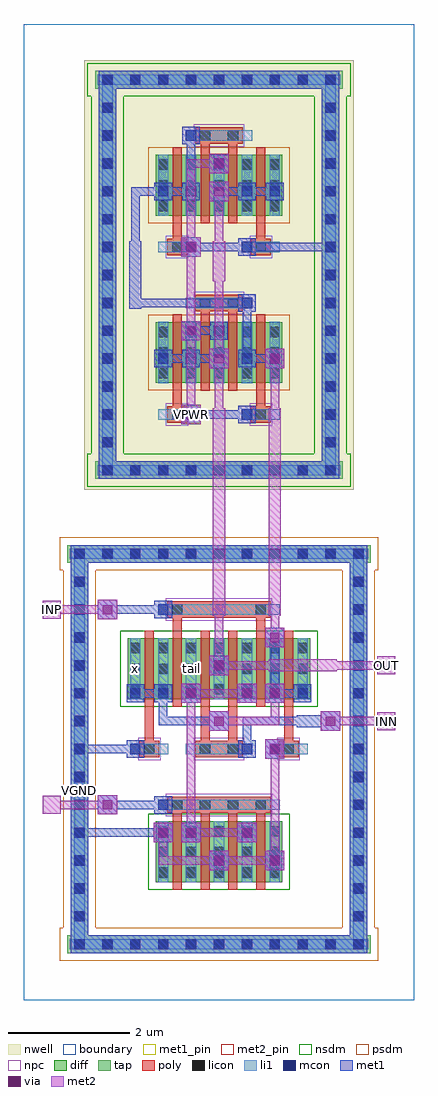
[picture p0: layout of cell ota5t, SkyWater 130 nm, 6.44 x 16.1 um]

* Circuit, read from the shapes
.subckt ota5t INN INP OUT VBN VGND VPWR tail x
XM1 x VGND x VGND sky130_fd_pr__nfet_01v8 w=1 l=0.15 m=2
XM2 tail VBN VGND VGND sky130_fd_pr__nfet_01v8 w=1 l=0.15 m=4
XM3 tail INP x VGND sky130_fd_pr__nfet_01v8 w=1 l=0.15 m=2
XM4 OUT INN tail VGND sky130_fd_pr__nfet_01v8 w=1 l=0.15 m=2
XM5 OUT VPWR OUT VPWR sky130_fd_pr__pfet_01v8 w=1 l=0.15 m=2
XM6 x VPWR x VPWR sky130_fd_pr__pfet_01v8 w=1 l=0.15 m=2
XM7 VPWR x OUT VPWR sky130_fd_pr__pfet_01v8 w=1 l=0.15 m=2
XM8 VPWR x x VPWR sky130_fd_pr__pfet_01v8 w=1 l=0.15 m=2
.ends

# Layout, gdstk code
import gdstk
lib = gdstk.Library(unit=1e-6, precision=1e-09)
def R(c, l, rs):  # rectangles x0, y0, x1, y1
    for r in rs: c.add(gdstk.rectangle(r[:2], r[2:], *l))
def A(c, l, x, y, w, h, nx, ny, dx, dy):  # array of equal rectangles
    R(c, l, [(x+i*dx, y+j*dy, x+i*dx+w, y+j*dy+h) for i in range(nx) for j in range(ny)])
nwell = (64, 20)
diff = (65, 20)
tap = (65, 44)
poly = (66, 20)
licon = (66, 44)
li1 = (67, 20)
mcon = (67, 44)
met1_pin = (68, 16)
met1 = (68, 20)
via = (68, 44)
met2_pin = (69, 16)
met2 = (69, 20)
nsdm = (93, 44)
psdm = (94, 20)
npc = (95, 20)
boundary = (235, 4)

ota5t = lib.new_cell('ota5t')
R(ota5t, nwell, [(0.995,8.415,5.445,15.505)])
R(ota5t, diff, [(2.175,1.945,4.265,2.945), (1.715,4.965,4.725,5.965), (2.175,10.18,4.265,11.18), (2.175,12.94,4.265,13.94)])
R(ota5t, tap, [(0.715,0.775,5.725,1.065), (0.775,0.775,1.065,7.505), (5.375,0.775,5.665,7.505), (0.715,7.215,5.725,7.505), (1.175,8.595,5.265,8.885), (1.235,8.595,1.525,15.325), (4.915,8.595,5.205,15.325), (1.175,15.035,5.265,15.325)])
A(ota5t, poly, 2.455, 1.815, 0.15, 1.405, 4, 1, 0.46, 0)
R(ota5t, poly, [(2.365,3.085,4.075,3.355), (1.905,4.005,2.235,4.275), (2.825,4.005,3.615,4.275), (4.205,4.005,4.535,4.275), (1.995,4.14,2.145,6.095), (2.915,4.14,3.065,6.095), (3.375,4.14,3.525,6.095), (4.295,4.14,4.445,6.095), (2.455,4.835,2.605,6.44), (3.835,4.835,3.985,6.44), (2.365,6.305,4.075,6.575), (2.365,9.525,2.695,9.795), (3.745,9.525,4.075,9.795), (2.455,9.66,2.605,11.31), (3.835,9.66,3.985,11.31), (2.915,10.05,3.065,11.5), (3.375,10.05,3.525,11.5), (2.825,11.365,3.615,11.635), (2.365,12.285,2.695,12.555), (3.745,12.285,4.075,12.555), (2.455,12.42,2.605,14.07), (3.835,12.42,3.985,14.07), (2.915,12.81,3.065,14.26), (3.375,12.81,3.525,14.26), (2.825,14.125,3.615,14.395)])
A(ota5t, licon, 0.835, 0.835, 0.17, 0.17, 11, 2, 0.46, 6.44)
A(ota5t, licon, 0.835, 1.295, 0.17, 0.17, 1, 13, 0, 0.46)
A(ota5t, licon, 5.435, 1.295, 0.17, 0.17, 1, 13, 0, 0.46)
A(ota5t, licon, 2.215, 2.02, 0.17, 0.17, 5, 3, 0.46, 0.34)
A(ota5t, licon, 2.445, 3.135, 0.17, 0.17, 4, 1, 0.46, 0)
A(ota5t, licon, 1.755, 5.04, 0.17, 0.17, 7, 3, 0.46, 0.34)
A(ota5t, licon, 1.295, 8.655, 0.17, 0.17, 9, 2, 0.46, 6.44)
A(ota5t, licon, 1.295, 9.115, 0.17, 0.17, 1, 13, 0, 0.46)
A(ota5t, licon, 4.975, 9.115, 0.17, 0.17, 1, 13, 0, 0.46)
A(ota5t, licon, 2.215, 10.255, 0.17, 0.17, 5, 3, 0.46, 0.34)
A(ota5t, licon, 2.215, 13.015, 0.17, 0.17, 5, 3, 0.46, 0.34)
R(ota5t, licon, [(1.985,4.055,2.155,4.225), (2.905,4.055,3.075,4.225), (3.365,4.055,3.535,4.225), (4.285,4.055,4.455,4.225), (2.445,6.355,2.615,6.525), (3.825,6.355,3.995,6.525), (2.445,9.575,2.615,9.745), (3.825,9.575,3.995,9.745), (2.905,11.415,3.075,11.585), (3.365,11.415,3.535,11.585), (2.445,12.335,2.615,12.505), (3.825,12.335,3.995,12.505), (2.905,14.175,3.075,14.345), (3.365,14.175,3.535,14.345)])
A(ota5t, li1, 2.215, 1.94, 0.17, 1.01, 5, 2, 0.46, 8.235)
A(ota5t, li1, 1.755, 4.96, 0.17, 1.01, 7, 1, 0.46, 0)
A(ota5t, li1, 2.215, 12.935, 0.17, 1.01, 5, 1, 0.46, 0)
R(ota5t, li1, [(0.755,0.835,5.685,1.005), (0.835,0.835,1.005,7.445), (5.435,0.835,5.605,7.445), (2.215,3.135,4.225,3.305), (1.755,4.055,2.385,4.225), (2.675,4.055,3.765,4.225), (4.055,4.055,4.685,4.225), (2.215,6.355,4.225,6.525), (0.755,7.275,5.685,7.445), (1.215,8.655,5.225,8.825), (1.295,8.655,1.465,15.265), (4.975,8.655,5.145,15.265), (2.215,9.575,2.845,9.745), (3.595,9.575,4.225,9.745), (2.675,11.415,3.765,11.585), (2.215,12.335,2.845,12.505), (3.595,12.335,4.225,12.505), (2.675,14.175,3.765,14.345), (1.215,15.095,5.225,15.265)])
A(ota5t, mcon, 0.835, 0.835, 0.17, 0.17, 11, 2, 0.46, 6.44)
A(ota5t, mcon, 0.835, 1.295, 0.17, 0.17, 1, 9, 0, 0.46)
A(ota5t, mcon, 5.435, 1.295, 0.17, 0.17, 1, 9, 0, 0.46)
A(ota5t, mcon, 1.755, 4.975, 0.17, 0.17, 3, 1, 0.46, 0)
A(ota5t, mcon, 3.595, 4.975, 0.17, 0.17, 3, 1, 0.46, 0)
A(ota5t, mcon, 0.835, 5.435, 0.17, 0.17, 3, 1, 2.3, 0)
A(ota5t, mcon, 0.835, 5.895, 0.17, 0.17, 1, 3, 0, 0.46)
A(ota5t, mcon, 5.435, 5.895, 0.17, 0.17, 1, 3, 0, 0.46)
A(ota5t, mcon, 1.295, 8.655, 0.17, 0.17, 9, 2, 0.46, 6.44)
A(ota5t, mcon, 1.295, 9.115, 0.17, 0.17, 1, 4, 0, 0.46)
A(ota5t, mcon, 4.975, 9.115, 0.17, 0.17, 1, 4, 0, 0.46)
A(ota5t, mcon, 3.595, 9.575, 0.17, 0.17, 1, 5, 0, 0.92)
A(ota5t, mcon, 1.295, 10.955, 0.17, 0.17, 3, 2, 1.84, 2.76)
A(ota5t, mcon, 1.295, 11.415, 0.17, 0.17, 1, 5, 0, 0.46)
A(ota5t, mcon, 4.975, 11.415, 0.17, 0.17, 1, 5, 0, 0.46)
A(ota5t, mcon, 2.675, 12.335, 0.17, 0.17, 1, 3, 0, 0.92)
R(ota5t, mcon, [(3.135,2.215,3.305,2.385), (4.055,2.215,4.225,2.385), (2.215,2.675,2.385,2.845), (2.675,2.675,2.845,2.845), (3.595,2.675,3.765,2.845), (2.215,3.135,2.385,3.305), (1.755,4.055,1.925,4.225), (3.595,4.055,3.765,4.225), (4.055,4.055,4.225,4.225), (2.215,6.355,2.385,6.525), (2.675,9.575,2.845,9.745), (2.215,10.495,2.385,10.665), (2.675,10.495,2.845,10.665), (4.055,10.495,4.225,10.665), (2.215,13.255,2.385,13.425), (4.055,13.255,4.225,13.425), (1.295,14.175,1.465,14.345), (4.975,14.175,5.145,14.345), (1.295,14.635,1.465,14.805), (4.975,14.635,5.145,14.805)])
R(ota5t, met1_pin, [(0.85,2.69,0.99,4.21), (2.615,9.515,2.905,9.805)])
A(ota5t, met1, 3.98, 3.98, 0.32, 0.32, 1, 3, 0, 0.92)
A(ota5t, met1, 1.695, 4.915, 0.29, 0.29, 3, 1, 0.46, 0)
A(ota5t, met1, 3.535, 4.915, 0.29, 0.29, 3, 1, 0.46, 0)
A(ota5t, met1, 2.6, 9.5, 0.32, 0.32, 1, 3, 0, 1.38)
A(ota5t, met1, 3.535, 9.515, 0.29, 0.29, 1, 5, 0, 0.92)
A(ota5t, met1, 2.615, 12.275, 0.29, 0.29, 1, 3, 0, 0.92)
R(ota5t, met1, [(0.775,0.775,5.665,1.065), (0.775,0.775,1.065,7.505), (5.375,0.775,5.665,7.505), (3.06,2.14,3.38,2.46), (3.98,2.14,4.3,2.46), (3.075,2.155,3.365,2.445), (3.995,2.155,4.285,2.445), (2.14,2.6,2.46,2.92), (2.6,2.6,2.92,2.92), (3.52,2.6,3.84,2.92), (2.155,2.615,2.445,2.905), (2.615,2.615,2.905,2.905), (3.535,2.615,3.825,2.905), (0.85,2.69,2.37,2.83), (0.85,2.69,0.99,4.21), (1.22,3.06,1.54,3.38), (2.155,3.075,2.445,3.365), (1.31,3.15,2.37,3.29), (1.695,3.995,1.985,4.285), (3.535,3.995,3.825,4.285), (3.995,3.995,4.285,4.285), (0.85,4.07,1.91,4.21), (0.85,4.07,0.99,4.21), (0.85,4.07,0.99,7.43), (3.61,4.07,3.75,4.67), (3.06,4.44,3.38,4.76), (4.9,4.44,5.22,4.76), (4.5,4.5,5.16,4.7), (2.23,4.53,3.29,4.67), (2.23,4.53,2.37,5.13), (3.61,4.53,4.67,4.67), (2.6,4.9,2.92,5.22), (3.52,4.9,3.84,5.22), (1.77,4.99,2.37,5.13), (4.07,4.99,4.67,5.13), (4.07,4.99,4.21,6.05), (3.06,5.36,3.38,5.68), (3.075,5.375,3.365,5.665), (1.22,6.28,1.54,6.6), (2.155,6.295,2.445,6.585), (1.31,6.37,2.37,6.51), (0.775,7.215,5.665,7.505), (0.85,7.29,0.99,7.43), (1.235,8.595,1.525,15.325), (1.235,8.595,5.205,8.885), (4.915,8.595,5.205,15.325), (2.615,9.515,2.905,9.805), (2.69,9.59,3.75,9.73), (3.06,10.42,3.38,10.74), (3.98,10.42,4.3,10.74), (2.155,10.435,2.445,10.725), (2.615,10.435,2.905,10.725), (3.995,10.435,4.285,10.725), (2.23,10.51,2.83,10.65), (2.69,10.51,3.29,10.65), (3.61,10.51,4.21,10.65), (3.61,10.51,3.75,11.57), (3.075,10.895,3.365,11.185), (2.69,10.97,3.29,11.11), (1.74,11.4,1.94,12.52), (1.77,11.43,3.75,11.57), (1.77,12.35,1.91,13.41), (2.69,12.35,3.75,12.49), (3.61,12.35,5.13,12.49), (4.99,12.35,5.13,12.49), (4.99,12.35,5.13,15.25), (3.06,13.18,3.38,13.5), (2.155,13.195,2.445,13.485), (3.995,13.195,4.285,13.485), (1.77,13.27,2.37,13.41), (2.23,13.27,2.83,13.41), (2.69,13.27,2.83,14.33), (3.15,13.27,3.75,13.41), (3.61,13.27,4.21,13.41), (3.06,13.64,3.38,13.96), (3.075,13.655,3.365,13.945), (1.235,15.035,5.205,15.325), (4.99,15.11,5.13,15.25)])
A(ota5t, via, 4.065, 4.065, 0.15, 0.15, 1, 3, 0, 0.92)
A(ota5t, via, 2.685, 9.585, 0.15, 0.15, 1, 3, 0, 1.38)
R(ota5t, via, [(3.145,2.225,3.295,2.375), (4.065,2.225,4.215,2.375), (2.225,2.685,2.375,2.835), (2.685,2.685,2.835,2.835), (3.605,2.685,3.755,2.835), (1.305,3.145,1.455,3.295), (3.145,4.525,3.295,4.675), (4.985,4.525,5.135,4.675), (2.685,4.985,2.835,5.135), (3.605,4.985,3.755,5.135), (3.145,5.445,3.295,5.595), (1.305,6.365,1.455,6.515), (3.145,10.505,3.295,10.655), (4.065,10.505,4.215,10.655), (3.145,13.265,3.295,13.415), (3.145,13.725,3.295,13.875)])
R(ota5t, met2_pin, [(0.31,3.07,0.61,3.37), (5.83,4.45,6.13,4.75), (5.83,5.37,6.13,5.67), (0.31,6.29,0.61,6.59)])
A(ota5t, met2, 3.98, 3.98, 0.32, 0.32, 1, 3, 0, 0.92)
A(ota5t, met2, 2.6, 9.5, 0.32, 0.32, 1, 3, 0, 1.38)
A(ota5t, met2, 2.69, 9.59, 0.14, 1.52, 1, 3, 0, 1.38)
R(ota5t, met2, [(3.06,2.14,3.38,2.46), (3.98,2.14,4.3,2.46), (2.23,2.23,3.29,2.37), (2.23,2.23,2.37,2.83), (3.15,2.23,4.21,2.37), (4.07,2.23,4.21,4.21), (2.14,2.6,2.46,2.92), (2.6,2.6,2.92,2.92), (3.52,2.6,3.84,2.92), (2.69,2.69,3.75,2.83), (2.69,2.69,2.83,5.13), (1.22,3.06,1.54,3.38), (0.31,3.07,0.61,3.37), (0.39,3.15,0.53,3.29), (0.39,3.15,1.45,3.29), (3.06,4.44,3.38,4.76), (4.9,4.44,5.22,4.76), (5.83,4.45,6.13,4.75), (3.15,4.53,4.21,4.67), (4.07,4.53,4.21,5.13), (4.99,4.53,6.05,4.67), (5.91,4.53,6.05,4.67), (2.6,4.9,2.92,5.22), (3.52,4.9,3.84,5.22), (2.69,4.99,3.75,5.13), (3.06,5.36,3.38,5.68), (5.83,5.37,6.13,5.67), (4.04,5.42,5.16,5.62), (3.15,5.45,4.21,5.59), (3.15,5.45,3.29,6.51), (4.99,5.45,6.05,5.59), (5.91,5.45,6.05,5.59), (4.07,5.91,4.21,6.51), (1.22,6.28,1.54,6.6), (0.31,6.29,0.61,6.59), (3.12,6.34,3.32,9.76), (4.04,6.34,4.24,9.76), (0.39,6.37,0.53,6.51), (0.39,6.37,1.45,6.51), (3.15,9.59,3.29,10.65), (4.07,9.59,4.21,10.65), (3.06,10.42,3.38,10.74), (3.98,10.42,4.3,10.74), (3.15,10.51,3.29,12.03), (3.12,11.86,3.32,12.52), (3.15,12.35,3.29,13.41), (3.06,13.18,3.38,13.5), (3.06,13.64,3.38,13.96), (2.69,13.73,3.29,13.87)])
R(ota5t, nsdm, [(2.05,1.82,4.39,3.07), (1.59,4.84,4.85,6.09), (1.05,8.47,5.39,9.01), (1.11,9.01,1.65,14.91), (4.79,9.01,5.33,14.91), (1.05,14.91,5.39,15.45)])
R(ota5t, psdm, [(0.59,0.65,5.85,1.19), (0.65,1.19,1.19,7.09), (5.25,1.19,5.79,7.09), (0.59,7.09,5.85,7.63), (2.05,10.055,4.39,11.305), (2.05,12.815,4.39,14.065)])
R(ota5t, npc, [(2.345,3.035,4.095,3.405), (1.885,3.955,2.255,4.325), (2.805,3.955,3.635,4.325), (4.185,3.955,4.555,4.325), (2.345,6.255,4.095,6.625), (2.345,9.475,2.715,9.845), (3.725,9.475,4.095,9.845), (2.805,11.315,3.635,11.685), (2.345,12.235,2.715,12.605), (3.725,12.235,4.095,12.605), (2.805,14.075,3.635,14.445)])
R(ota5t, boundary, [(0,0,6.44,16.1)])
ota5t.add(gdstk.Label('x', (1.84,5.465), layer=67, texttype=5))
ota5t.add(gdstk.Label('tail', (2.76,5.465), layer=67, texttype=5))
ota5t.add(gdstk.Label('VPWR', (2.76,9.66), layer=68, texttype=5))
ota5t.add(gdstk.Label('VGND', (0.92,3.45), layer=68, texttype=5))
ota5t.add(gdstk.Label('INP', (0.46,6.44), layer=69, texttype=5))
ota5t.add(gdstk.Label('INN', (5.98,4.6), layer=69, texttype=5))
ota5t.add(gdstk.Label('VBN', (0.46,3.22), layer=69, texttype=5))
ota5t.add(gdstk.Label('OUT', (5.98,5.52), layer=69, texttype=5))
ota5t.add(gdstk.Label('VPWR', (2.76,9.66), layer=68, texttype=16))
ota5t.add(gdstk.Label('VGND', (0.92,3.45), layer=68, texttype=16))
ota5t.add(gdstk.Label('INP', (0.46,6.44), layer=69, texttype=16))
ota5t.add(gdstk.Label('INN', (5.98,4.6), layer=69, texttype=16))
ota5t.add(gdstk.Label('VBN', (0.46,3.22), layer=69, texttype=16))
ota5t.add(gdstk.Label('OUT', (5.98,5.52), layer=69, texttype=16))

lib.write_gds('ota5t.gds')
